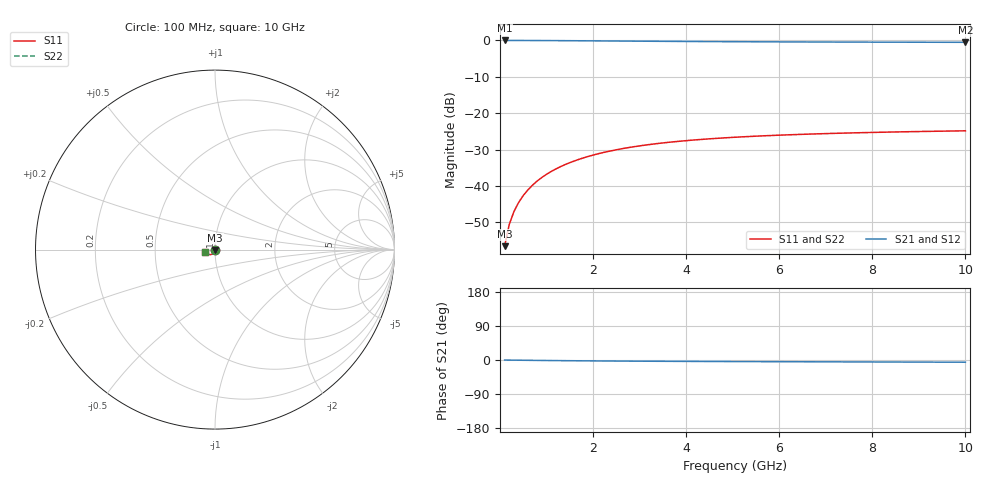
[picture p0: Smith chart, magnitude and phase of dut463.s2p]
! Touchstone file exported from HFSS 2024.1.0
!  File:  C:/UserFiles/LocalFiles/RDL_TSV_Batchsim/temp_TSV1_463_1779697721.aedt
!  Generated:  04:33:53 PM May 25, 2026
!  Design:  TSV1
!  Project:  temp_TSV1_463_1779697721
!  Setup:  Setup1
!  Solution:  Sweep
! Variables:
!  dtsv = 10.07um
!  hbump = 3um
!  htsv = 93.53um
!  lrdl = 252.1521522um
!  p = 40
!  p1 = 42.89um
!  t = 500um
!  trdl = 3um
!  wrdl = 24.89489489um
# GHz S MA R 50.000000
! Terminal data exported
! Port[1] = TSV22_T1
! Port[2] = TSV22_T2
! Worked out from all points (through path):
!   100 points, 100 MHz to 10 GHz, reference 50 ohm
!   highest |S21| = 0.00 dB at 100 MHz (marker M1); lowest = -0.5 dB at 10 GHz (marker M2)
!   lowest |S11| = -56.6 dB at 100 MHz (marker M3), VSWR 1.00, Z = 50 - j0.148 ohm
!   |S11| at or under -10 dB: start of sweep to end of sweep
!   |S22| runs from -56.6 to -24.9 dB; largest |S21 - S12| = 6.5e-15
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0.1  0.001483 -85.3  0.9998 -0.1  0.9998 -0.1  0.001483 -85.3
! Gamma 0 0 0 0
! Port Impedance 50 0 50 0
0.2  0.002954 -89.8  0.9997 -0.3  0.9997 -0.3  0.002954 -89.8
0.3  0.004428 -92.3  0.9994 -0.4  0.9994 -0.4  0.004428 -92.3
0.4  0.005899 -94.4  0.9991 -0.5  0.9991 -0.5  0.005899 -94.4
0.5  0.007361 -96.2  0.9988 -0.7  0.9988 -0.7  0.007361 -96.2
0.6  0.008811 -98.0  0.9983 -0.8  0.9983 -0.8  0.008811 -98.0
0.7  0.01024 -99.6  0.9978 -0.9  0.9978 -0.9  0.01024 -99.6
0.8  0.01166 -101.3  0.9972 -1.1  0.9972 -1.1  0.01166 -101.3
0.9  0.01305 -102.9  0.9966 -1.2  0.9966 -1.2  0.01305 -102.9
1.1  0.01576 -106.0  0.9952 -1.4  0.9952 -1.4  0.01576 -106.0
1.4  0.01963 -110.4  0.9927 -1.8  0.9927 -1.8  0.01963 -110.4
1.6  0.02205 -113.2  0.9909 -2.0  0.9909 -2.0  0.02205 -113.2
1.8  0.02435 -115.9  0.989 -2.2  0.989 -2.2  0.02435 -115.9
2.1  0.02755 -119.7  0.9861 -2.5  0.9861 -2.5  0.02755 -119.7
2.5  0.03138 -124.5  0.982 -2.8  0.982 -2.8  0.03138 -124.5
2.9  0.03473 -128.8  0.9781 -3.1  0.9781 -3.1  0.03473 -128.8
3.4  0.03832 -133.6  0.9735 -3.4  0.9735 -3.4  0.03832 -133.6
4.2  0.04293 -140.4  0.9669 -3.8  0.9669 -3.8  0.04293 -140.4
5.1  0.04685 -146.7  0.9608 -4.1  0.9608 -4.1  0.04685 -146.7
6.7  0.05167 -155.5  0.9527 -4.7  0.9527 -4.7  0.05167 -155.5
8.4  0.055 -162.8  0.9469 -5.3  0.9469 -5.3  0.055 -162.8
10  0.05719 -168.4  0.943 -5.9  0.943 -5.9  0.05719 -168.4
